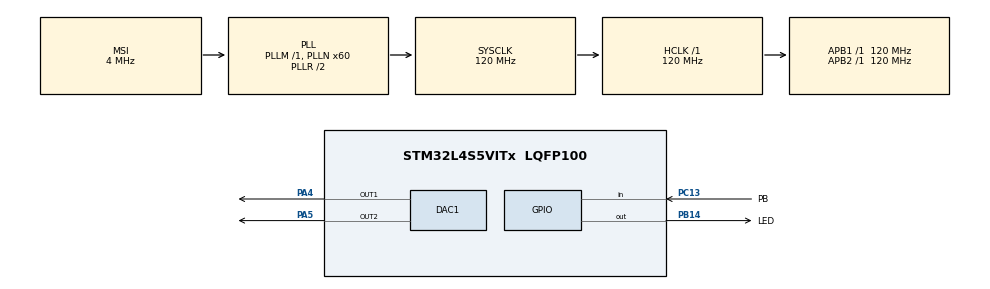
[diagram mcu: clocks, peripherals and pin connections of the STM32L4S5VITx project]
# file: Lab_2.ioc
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ADC1.Channel-4\#ChannelRegularConversion=ADC_CHANNEL_TEMPSENSOR
ADC1.DiscontinuousConvMode=DISABLE
ADC1.EnableInjectedConversion=DISABLE
ADC1.EnableRegularConversion=ENABLE
ADC1.NbrOfConversion=1
ADC1.NbrOfConversionFlag=1
ADC1.OffsetNumber-4\#ChannelRegularConversion=ADC_OFFSET_NONE
ADC1.Rank-4\#ChannelRegularConversion=1
ADC1.Rank1_Channel=ADC_CHANNEL_TEMPSENSOR
ADC1.Rank2_Channel=ADC_CHANNEL_VREFINT
ADC1.SamplingTime-4\#ChannelRegularConversion=ADC_SAMPLETIME_640CYCLES_5
ADC1.master=1
DAC1.DAC_Channel-DAC_OUT2=DAC_CHANNEL_2
Mcu.Family=STM32L4
Mcu.Name=STM32L4S5VITx
Mcu.Package=LQFP100
NVIC.PriorityGroup=NVIC_PRIORITYGROUP_4
PA4.Signal=COMP_DAC11_group
PA5.Signal=COMP_DAC12_group
PB14.GPIO_Label=LED
PB14.Signal=GPIO_Output
PB3\ (JTDO/TRACESWO).Signal=SYS_JTDO-SWO
PC13.GPIO_Label=PB
PC13.Signal=GPIO_Input
ProjectManager.HeapSize=0x200
ProjectManager.StackSize=0x400
ProjectManager.TargetToolchain=STM32CubeIDE
RCC.ADCFreq_Value=80000000
RCC.AHBFreq_Value=120000000
RCC.APB1Freq_Value=120000000
RCC.APB1TimFreq_Value=120000000
RCC.APB2Freq_Value=120000000
RCC.APB2TimFreq_Value=120000000
RCC.CortexFreq_Value=120000000
RCC.HCLKFreq_Value=120000000
RCC.HSE_VALUE=8000000
RCC.HSI48_VALUE=48000000
RCC.HSI_VALUE=16000000
RCC.LSE_VALUE=32768
RCC.MSI_VALUE=4000000
RCC.PLLN=60
RCC.PLLSAI1N=40
RCC.SYSCLKFreq_VALUE=120000000
RCC.SYSCLKSource=RCC_SYSCLKSOURCE_PLLCLK
RCC.USBFreq_Value=80000000
RCC.VCOOutputFreq_Value=240000000
SH.COMP_DAC11_group.0=DAC1_OUT1,DAC_OUT1
SH.COMP_DAC12_group.0=DAC1_OUT2,DAC_OUT2
VP_ADC1_TempSens_Input.Mode=IN-TempSens
VP_ADC1_Vref_Input.Mode=IN-Vrefint
board=B-L4S5I-IOT01A

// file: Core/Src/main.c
/* USER CODE BEGIN Header */
/**
  ******************************************************************************
  * @file           : main.c
  * @brief          : Main program body
  ******************************************************************************
  * @attention
  *
  * Copyright (c) 2023 STMicroelectronics.
  * All rights reserved.
  *
  * This software is licensed under terms that can be found in the LICENSE file
  * in the root directory of this software component.
  * If no LICENSE file comes with this software, it is provided AS-IS.
  *
  ******************************************************************************
  */
/* USER CODE END Header */
#include "main.h"

/* USER CODE BEGIN Includes */
#define ARM_MATH_CM4
#include "arm_math.h"
/* USER CODE END Includes */

/* USER CODE BEGIN PD */
#define ITM_Port32(n) (*((volatile unsigned long *) (0xE0000000+4*n)))
/* USER CODE END PD */

/* USER CODE BEGIN PM */
#define VALUE_LIMIT 200
#define N_STEPS 50
/* USER CODE END PM */

ADC_HandleTypeDef hadc1;

DAC_HandleTypeDef hdac1;

void SystemClock_Config(void);
static void MX_GPIO_Init(void);
static void MX_DAC1_Init(void);
static void MX_ADC1_Init(void);
/* USER CODE BEGIN PFP */
void PB_LED(void);
void do_saw(uint8_t *saw_value);
void do_triangle(uint8_t *triangle_value, uint8_t *delta);
void do_sine(uint8_t *sine_value, float *theta);
float scale_temp(uint32_t temp_value, uint32_t vref_value);
uint32_t get_temp(float *temp);
/* USER CODE END PFP */

int main(void)
{

  /* MCU Configuration--------------------------------------------------------*/

  /* Reset of all peripherals, Initializes the Flash interface and the Systick. */
  HAL_Init();

  /* Configure the system clock */
  SystemClock_Config();

  /* Initialize all configured peripherals */
  MX_GPIO_Init();
  MX_DAC1_Init();
  MX_ADC1_Init();
  /* USER CODE BEGIN 2 */
  HAL_DAC_Start(&hdac1, DAC_CHANNEL_1);
  HAL_DAC_Start(&hdac1, DAC_CHANNEL_2);

  uint8_t triangle = 0;
  uint8_t saw = 0;
  uint8_t sine = (VALUE_LIMIT/2);
  float   theta = 0.0;
  uint8_t delta = (VALUE_LIMIT/N_STEPS)*2;
  float temp = 0;
  uint8_t song_index = 0;
  uint8_t song_index_background = 0;
  uint8_t update_song  = 1;
  uint8_t led_switch = 0;

  /* USER CODE END 2 */

  /* Infinite loop */
  while (1)
  {

    /* USER CODE BEGIN 3 */

	 //Part 1
//	 PB_LED();

	 //Part 2
//	  do_saw(&saw);
//	  do_triangle(&triangle, &delta);
//	  do_sine(&sine, &theta);
//	  HAL_DAC_SetValue(&hdac1, DAC_CHANNEL_1, DAC_ALIGN_8B_R, (uint32_t)(triangle));
//	  HAL_DAC_SetValue(&hdac1, DAC_CHANNEL_2, DAC_ALIGN_8B_R, (uint32_t)(saw));

	  //Part 3

//	  get_temp(&temp);

	  //Part 4

	 while (HAL_GPIO_ReadPin(PB_GPIO_Port, PB_Pin) == GPIO_PIN_RESET){
		 if (HAL_GPIO_ReadPin(LED_GPIO_Port, LED_Pin) == GPIO_PIN_RESET){
			 led_switch = 1;
			 song_index = 3;
		 }
		 else{
			 led_switch = 0;
			 update_song = 1;
		 }

	 }

	 if (update_song == 1){
		 song_index = song_index_background;
		 song_index_background = (song_index_background + 1) % 3;
		 update_song = 0;
	 }

	 HAL_GPIO_WritePin(LED_GPIO_Port, LED_Pin, led_switch);

	 do_saw(&saw);
	 do_triangle(&triangle, &delta);
	 do_sine(&sine, &theta);

	 switch(song_index) {
	   case 0:
		   HAL_DAC_SetValue(&hdac1, DAC_CHANNEL_1, DAC_ALIGN_8B_R, (uint32_t)(saw));
	     break;
	   case 1:
		   HAL_DAC_SetValue(&hdac1, DAC_CHANNEL_1, DAC_ALIGN_8B_R, (uint32_t)(triangle));
	     break;
	   case 2:
		   HAL_DAC_SetValue(&hdac1, DAC_CHANNEL_1, DAC_ALIGN_8B_R, (uint32_t)(sine));
	   	 break;
	   default:
		   get_temp(&temp);
		   HAL_DAC_SetValue(&hdac1, DAC_CHANNEL_1, DAC_ALIGN_12B_R, (uint32_t)((temp)*10000));
	 }

	 ITM_Port32(31) = 1;
	 for (uint32_t i = 0 ; i < 15; i ++){
	 }
	 ITM_Port32(31) = 2;

  }
  /* USER CODE END 3 */
}

void SystemClock_Config(void)
{
  RCC_OscInitTypeDef RCC_OscInitStruct = {0};
  RCC_ClkInitTypeDef RCC_ClkInitStruct = {0};

  /** Configure the main internal regulator output voltage
  */
  if (HAL_PWREx_ControlVoltageScaling(PWR_REGULATOR_VOLTAGE_SCALE1_BOOST) != HAL_OK)
  {
    Error_Handler();
  }

  /** Initializes the RCC Oscillators according to the specified parameters
  * in the RCC_OscInitTypeDef structure.
  */
  RCC_OscInitStruct.OscillatorType = RCC_OSCILLATORTYPE_MSI;
  RCC_OscInitStruct.MSIState = RCC_MSI_ON;
  RCC_OscInitStruct.MSICalibrationValue = 0;
  RCC_OscInitStruct.MSIClockRange = RCC_MSIRANGE_6;
  RCC_OscInitStruct.PLL.PLLState = RCC_PLL_ON;
  RCC_OscInitStruct.PLL.PLLSource = RCC_PLLSOURCE_MSI;
  RCC_OscInitStruct.PLL.PLLM = 1;
  RCC_OscInitStruct.PLL.PLLN = 60;
  RCC_OscInitStruct.PLL.PLLP = RCC_PLLP_DIV2;
  RCC_OscInitStruct.PLL.PLLQ = RCC_PLLQ_DIV2;
  RCC_OscInitStruct.PLL.PLLR = RCC_PLLR_DIV2;
  if (HAL_RCC_OscConfig(&RCC_OscInitStruct) != HAL_OK)
  {
    Error_Handler();
  }

  /** Initializes the CPU, AHB and APB buses clocks
  */
  RCC_ClkInitStruct.ClockType = RCC_CLOCKTYPE_HCLK|RCC_CLOCKTYPE_SYSCLK
                              |RCC_CLOCKTYPE_PCLK1|RCC_CLOCKTYPE_PCLK2;
  RCC_ClkInitStruct.SYSCLKSource = RCC_SYSCLKSOURCE_PLLCLK;
  RCC_ClkInitStruct.AHBCLKDivider = RCC_SYSCLK_DIV1;
  RCC_ClkInitStruct.APB1CLKDivider = RCC_HCLK_DIV1;
  RCC_ClkInitStruct.APB2CLKDivider = RCC_HCLK_DIV1;

  if (HAL_RCC_ClockConfig(&RCC_ClkInitStruct, FLASH_LATENCY_5) != HAL_OK)
  {
    Error_Handler();
  }
}

static void MX_ADC1_Init(void)
{

  ADC_ChannelConfTypeDef sConfig = {0};

  /** Common config
  */
  hadc1.Instance = ADC1;
  hadc1.Init.ClockPrescaler = ADC_CLOCK_ASYNC_DIV1;
  hadc1.Init.Resolution = ADC_RESOLUTION_12B;
  hadc1.Init.DataAlign = ADC_DATAALIGN_RIGHT;
  hadc1.Init.ScanConvMode = ADC_SCAN_DISABLE;
  hadc1.Init.EOCSelection = ADC_EOC_SINGLE_CONV;
  hadc1.Init.LowPowerAutoWait = DISABLE;
  hadc1.Init.ContinuousConvMode = DISABLE;
  hadc1.Init.NbrOfConversion = 1;
  hadc1.Init.DiscontinuousConvMode = DISABLE;
  hadc1.Init.ExternalTrigConv = ADC_SOFTWARE_START;
  hadc1.Init.ExternalTrigConvEdge = ADC_EXTERNALTRIGCONVEDGE_NONE;
  hadc1.Init.DMAContinuousRequests = DISABLE;
  hadc1.Init.Overrun = ADC_OVR_DATA_PRESERVED;
  hadc1.Init.OversamplingMode = DISABLE;
  if (HAL_ADC_Init(&hadc1) != HAL_OK)
  {
    Error_Handler();
  }

  /** Configure Regular Channel
  */
  sConfig.Channel = ADC_CHANNEL_TEMPSENSOR;
  sConfig.Rank = ADC_REGULAR_RANK_1;
  sConfig.SamplingTime = ADC_SAMPLETIME_640CYCLES_5;
  sConfig.SingleDiff = ADC_SINGLE_ENDED;
  sConfig.OffsetNumber = ADC_OFFSET_NONE;
  sConfig.Offset = 0;
  if (HAL_ADC_ConfigChannel(&hadc1, &sConfig) != HAL_OK)
  {
    Error_Handler();
  }

}

static void MX_DAC1_Init(void)
{

  DAC_ChannelConfTypeDef sConfig = {0};

  /** DAC Initialization
  */
  hdac1.Instance = DAC1;
  if (HAL_DAC_Init(&hdac1) != HAL_OK)
  {
    Error_Handler();
  }

  /** DAC channel OUT1 config
  */
  sConfig.DAC_SampleAndHold = DAC_SAMPLEANDHOLD_DISABLE;
  sConfig.DAC_Trigger = DAC_TRIGGER_NONE;
  sConfig.DAC_HighFrequency = DAC_HIGH_FREQUENCY_INTERFACE_MODE_ABOVE_80MHZ;
  sConfig.DAC_OutputBuffer = DAC_OUTPUTBUFFER_ENABLE;
  sConfig.DAC_ConnectOnChipPeripheral = DAC_CHIPCONNECT_DISABLE;
  sConfig.DAC_UserTrimming = DAC_TRIMMING_FACTORY;
  if (HAL_DAC_ConfigChannel(&hdac1, &sConfig, DAC_CHANNEL_1) != HAL_OK)
  {
    Error_Handler();
  }

  /** DAC channel OUT2 config
  */
  if (HAL_DAC_ConfigChannel(&hdac1, &sConfig, DAC_CHANNEL_2) != HAL_OK)
  {
    Error_Handler();
  }

}

static void MX_GPIO_Init(void)
{
  GPIO_InitTypeDef GPIO_InitStruct = {0};

  /* GPIO Ports Clock Enable */
  __HAL_RCC_GPIOC_CLK_ENABLE();
  __HAL_RCC_GPIOA_CLK_ENABLE();
  __HAL_RCC_GPIOB_CLK_ENABLE();

  /*Configure GPIO pin Output Level */
  HAL_GPIO_WritePin(LED_GPIO_Port, LED_Pin, GPIO_PIN_RESET);

  /*Configure GPIO pin : PB_Pin */
  GPIO_InitStruct.Pin = PB_Pin;
  GPIO_InitStruct.Mode = GPIO_MODE_INPUT;
  GPIO_InitStruct.Pull = GPIO_NOPULL;
  HAL_GPIO_Init(PB_GPIO_Port, &GPIO_InitStruct);

  /*Configure GPIO pin : LED_Pin */
  GPIO_InitStruct.Pin = LED_Pin;
  GPIO_InitStruct.Mode = GPIO_MODE_OUTPUT_PP;
  GPIO_InitStruct.Pull = GPIO_NOPULL;
  GPIO_InitStruct.Speed = GPIO_SPEED_FREQ_LOW;
  HAL_GPIO_Init(LED_GPIO_Port, &GPIO_InitStruct);

}

/* USER CODE BEGIN 4 */
void PB_LED(void)
{
	 if (HAL_GPIO_ReadPin(PB_GPIO_Port, PB_Pin) == GPIO_PIN_RESET)
	 {
		 HAL_GPIO_WritePin(LED_GPIO_Port, LED_Pin, GPIO_PIN_SET);
	 }
	 else
	 {
		 HAL_GPIO_WritePin(LED_GPIO_Port, LED_Pin, GPIO_PIN_RESET);
	 }
}

void do_saw(uint8_t *saw_value){
	if((*saw_value) >= VALUE_LIMIT){
		(*saw_value) = 0;
	}
	else{
		(*saw_value) += VALUE_LIMIT/N_STEPS;
	}
}

void do_triangle(uint8_t *triangle_value, uint8_t *delta){

	(*triangle_value) += (*delta);

	if( ((*triangle_value) >= VALUE_LIMIT) || ((*triangle_value) <= 0)) (*delta) *= -1;
}

void do_sine(uint8_t *sine_value, float *theta){
	(*theta) += (2*PI)/(N_STEPS);
	if( (*theta) >= 2*PI ) (*theta) = 0;
	(*sine_value) = (uint8_t)((VALUE_LIMIT/2.0)*arm_sin_f32((*theta)) + (VALUE_LIMIT/2.0));
}

float scale_temp(uint32_t temp_value, uint32_t vref_value){
	float temp1 = TEMPSENSOR_CAL1_TEMP;
	float temp2 = TEMPSENSOR_CAL2_TEMP;
	float cal1 = (float) *TEMPSENSOR_CAL1_ADDR;
	float cal2 = (float) *TEMPSENSOR_CAL2_ADDR;
	float vref1 = VREFINT_CAL_VREF;
	float vcal = (float) *VREFINT_CAL_ADDR;

	float v_correct;
	float temp_correct;

	v_correct = vref1*vcal/((float)vref_value);
	temp_correct = ((temp2 - temp1)/(cal2 - cal1))*((float)temp_value*v_correct/vref1 - cal1) + 30;

	return temp_correct;
}

uint32_t get_temp(float *temp){
	uint32_t tempSensor = 0;
	uint32_t vref = 0;

	ADC_ChannelConfTypeDef channel_config = {.Channel = ADC_CHANNEL_VREFINT,
			.Rank = ADC_REGULAR_RANK_1,
			.SamplingTime = ADC_SAMPLETIME_640CYCLES_5,
			.SingleDiff = ADC_SINGLE_ENDED,
			.OffsetNumber = ADC_OFFSET_NONE,
			.Offset = 0};

	if (HAL_ADC_ConfigChannel(&hadc1, &channel_config) != HAL_OK){
		return -1;
	}

	HAL_ADC_Start(&hadc1);
	HAL_ADC_PollForConversion(&hadc1, 200);
	vref = HAL_ADC_GetValue(&hadc1);
	HAL_ADC_Stop(&hadc1);

	ADC_ChannelConfTypeDef channel_config_2 = {.Channel = ADC_CHANNEL_TEMPSENSOR,
			.Rank = ADC_REGULAR_RANK_1,
			.SamplingTime = ADC_SAMPLETIME_640CYCLES_5,
			.SingleDiff = ADC_SINGLE_ENDED,
			.OffsetNumber = ADC_OFFSET_NONE,
			.Offset = 0};

	if (HAL_ADC_ConfigChannel(&hadc1, &channel_config_2) != HAL_OK){
		return -1;
	}

	HAL_ADC_Start(&hadc1);
	HAL_ADC_PollForConversion(&hadc1, 200);
	tempSensor = HAL_ADC_GetValue(&hadc1);
	HAL_ADC_Stop(&hadc1);

	(*temp) = scale_temp(tempSensor, vref);

	return 0;
}
/* USER CODE END 4 */

void Error_Handler(void)
{
  __disable_irq();
  while (1)
  {
  }
}
